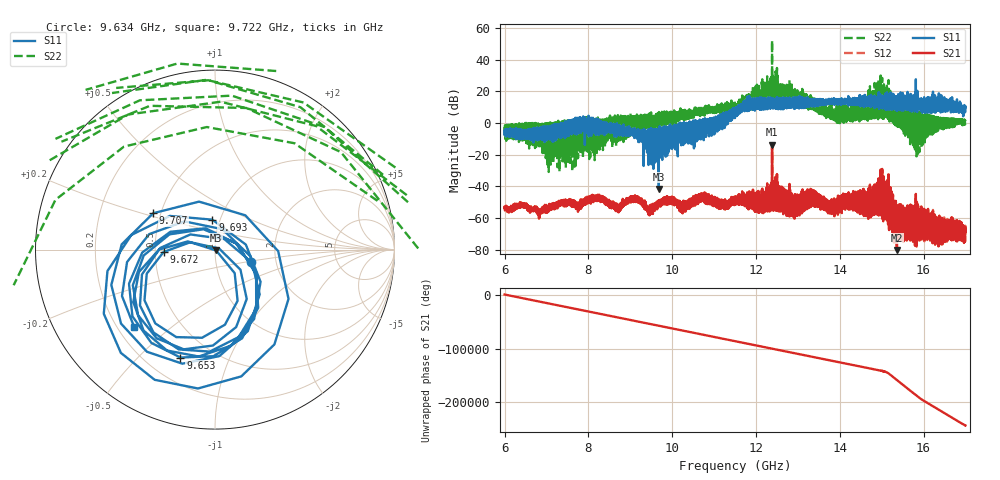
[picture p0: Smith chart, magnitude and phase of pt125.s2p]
#  HZ  S  RI  R  50.00
! Rohde & Schwarz Vector Network Analyzer
! Rohde-Schwarz,ZNA67-2Port,1332450062101215,3.01
! Created: UTC 10/19/2026, 5:12:17 PM
! freq[Hz]  re:S11  im:S11  re:S21  im:S21  re:S12  im:S12  re:S22  im:S22
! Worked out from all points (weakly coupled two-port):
!   11001 points, 6 GHz to 17 GHz, reference 50 ohm
!   highest |S21| = -13.75 dB at 12.38 GHz (marker M1); lowest = -80.2 dB at 15.37 GHz (marker M2)
!   lowest |S11| = -41.7 dB at 9.681 GHz (marker M3), VSWR 1.02, Z = 50.7 - j0.506 ohm
!   |S11| at or under -10 dB: 9.386699 GHz to 9.391386 GHz (4.688 MHz wide, 0.0499 % of centre); 9.398621 GHz to 9.403064 GHz (4.443 MHz wide, 0.0473 % of centre); 9.678954 GHz to 9.683042 GHz (4.088 MHz wide, 0.0422 % of centre) (the widest 3 of 141)
!   |S22| runs from -30.9 to 52.2 dB; largest |S21 - S12| = 0.0051
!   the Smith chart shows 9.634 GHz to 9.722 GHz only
!   S11 on the Smith chart (normalised r, x): 9.634 GHz: 1.48, -0.21; 9.653 GHz: 0.34, -0.67; 9.672 GHz: 0.55, -0.02; 9.693 GHz: 0.92, +0.32; 9.707 GHz: 0.45, +0.22; 9.722 GHz: 0.27, -0.38
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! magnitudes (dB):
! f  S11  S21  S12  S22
! 6 GHz  -5.1  -53.4  -53.5  -2.4
! 7.834 GHz  -4.1  -52.4  -52.1  -14.6
! 8.231 GHz  -5.4  -48.7  -48.4  -8.0
! 8.703 GHz  -2.7  -52.1  -52.0  5.0
! 9.106 GHz  -5.4  -49.1  -48.9  -5.6
! 9.452 GHz  -5.4  -54.5  -54.6  2.2
! 9.634 GHz  -13.5  -53.0  -52.9  2.8
! 9.653 GHz  -4.0  -53.1  -53.2  -0.4
! 9.667 GHz  -7.0  -52.0  -52.3  -2.3
! 9.672 GHz  -10.9  -49.1  -49.1  4.2
! 9.681 GHz  -41.7  -52.0  -52.1  4.5
! 9.693 GHz  -15.5  -50.6  -50.5  3.8
! 9.707 GHz  -8.0  -49.1  -49.1  5.9
! 9.722 GHz  -4.1  -52.0  -51.9  1.8
! 11.5 GHz  4.2  -50.0  -49.9  9.4
! 12.38 GHz  10.0  -13.7  -13.9  52.2
! 12.88 GHz  15.9  -47.2  -46.7  19.7
! 13.33 GHz  11.7  -49.9  -49.6  10.4
! 13.96 GHz  14.5  -48.6  -49.0  8.2
! 15.17 GHz  10.8  -60.3  -60.3  3.4
! 15.37 GHz  10.7  -80.2  -80.7  -0.3
! 17 GHz  9.9  -69.0  -69.4  1.4
